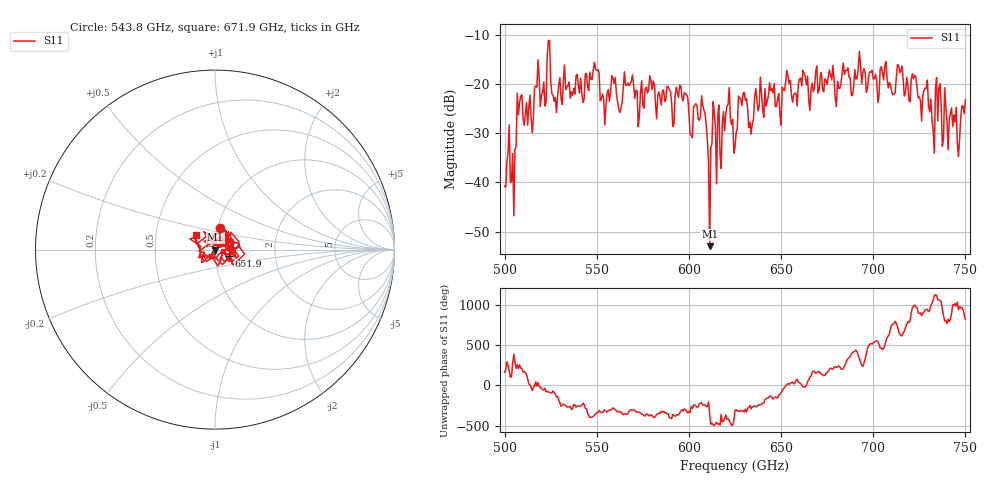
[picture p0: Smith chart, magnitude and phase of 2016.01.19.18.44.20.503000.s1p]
!Created with skrf (http://scikit-rf.org).
# GHz S RI R 50.0
!freq ReS11 ImS11
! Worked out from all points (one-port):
!   401 points, 500 GHz to 750 GHz, reference 50 ohm
!   lowest |S11| = -52.9 dB at 611.2 GHz (marker M1), VSWR 1.00, Z = 50.2 + j0.0242 ohm
!   |S11| at or under -10 dB: start of sweep to end of sweep
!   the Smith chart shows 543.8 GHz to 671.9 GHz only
!   S11 on the Smith chart (normalised r, x): 543.8 GHz: 1.03, +0.26; 651.9 GHz: 1.16, -0.09; 671.9 GHz: 0.80, +0.13
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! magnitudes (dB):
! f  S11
! 500 GHz  -40.7
! 504.4 GHz  -34.1
! 508.1 GHz  -23.7
! 513.8 GHz  -22.2
! 524.4 GHz  -11.1
! 526.9 GHz  -23.5
! 531.2 GHz  -24.2
! 543.8 GHz  -18.0
! 562.5 GHz  -25.8
! 593.8 GHz  -21.8
! 608.1 GHz  -25.3
! 611.2 GHz  -52.9
! 613.1 GHz  -23.6
! 616.2 GHz  -24.2
! 621.2 GHz  -24.1
! 625 GHz  -32.8
! 628.1 GHz  -23.0
! 633.8 GHz  -30.2
! 651.9 GHz  -21.3
! 656.2 GHz  -23.7
! 671.9 GHz  -17.6
! 687.5 GHz  -18.8
! 718.8 GHz  -20.0
! 728.1 GHz  -20.8
! 731.9 GHz  -27.4
! 735 GHz  -27.5
! 745.6 GHz  -32.1
! 750 GHz  -23.2
